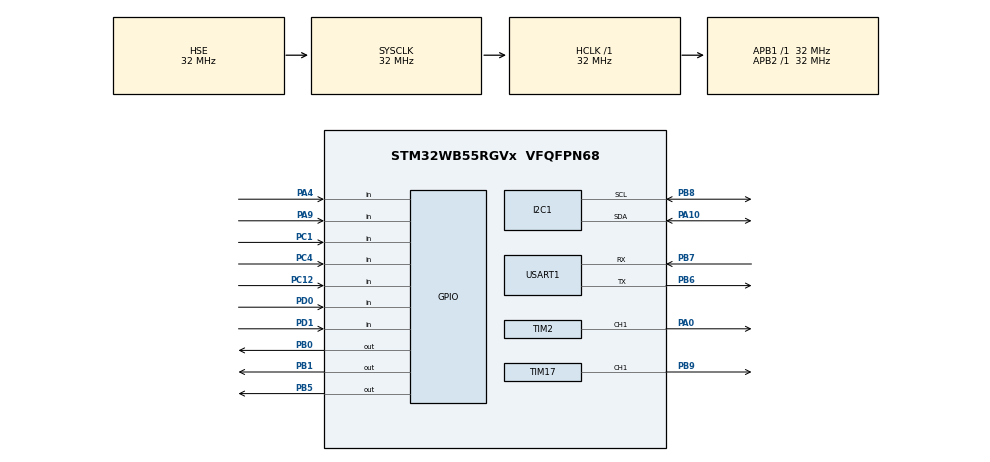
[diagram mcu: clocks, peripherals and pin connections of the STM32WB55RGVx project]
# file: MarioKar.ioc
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Dma.I2C1_RX.1.Direction=DMA_PERIPH_TO_MEMORY
Dma.I2C1_RX.1.EventEnable=DISABLE
Dma.I2C1_RX.1.Instance=DMA1_Channel2
Dma.I2C1_RX.1.MemDataAlignment=DMA_MDATAALIGN_BYTE
Dma.I2C1_RX.1.MemInc=DMA_MINC_ENABLE
Dma.I2C1_RX.1.Mode=DMA_NORMAL
Dma.I2C1_RX.1.PeriphDataAlignment=DMA_PDATAALIGN_BYTE
Dma.I2C1_RX.1.PeriphInc=DMA_PINC_DISABLE
Dma.I2C1_RX.1.Polarity=HAL_DMAMUX_REQ_GEN_RISING
Dma.I2C1_RX.1.Priority=DMA_PRIORITY_LOW
Dma.I2C1_RX.1.RequestNumber=1
Dma.I2C1_RX.1.SignalID=NONE
Dma.I2C1_RX.1.SyncEnable=DISABLE
Dma.I2C1_RX.1.SyncPolarity=HAL_DMAMUX_SYNC_NO_EVENT
Dma.I2C1_RX.1.SyncRequestNumber=1
Dma.I2C1_RX.1.SyncSignalID=NONE
Dma.I2C1_TX.2.Direction=DMA_MEMORY_TO_PERIPH
Dma.I2C1_TX.2.EventEnable=DISABLE
Dma.I2C1_TX.2.Instance=DMA1_Channel3
Dma.I2C1_TX.2.MemDataAlignment=DMA_MDATAALIGN_BYTE
Dma.I2C1_TX.2.MemInc=DMA_MINC_ENABLE
Dma.I2C1_TX.2.Mode=DMA_NORMAL
Dma.I2C1_TX.2.PeriphDataAlignment=DMA_PDATAALIGN_BYTE
Dma.I2C1_TX.2.PeriphInc=DMA_PINC_DISABLE
Dma.I2C1_TX.2.Polarity=HAL_DMAMUX_REQ_GEN_RISING
Dma.I2C1_TX.2.Priority=DMA_PRIORITY_LOW
Dma.I2C1_TX.2.RequestNumber=1
Dma.I2C1_TX.2.SignalID=NONE
Dma.I2C1_TX.2.SyncEnable=DISABLE
Dma.I2C1_TX.2.SyncPolarity=HAL_DMAMUX_SYNC_NO_EVENT
Dma.I2C1_TX.2.SyncRequestNumber=1
Dma.I2C1_TX.2.SyncSignalID=NONE
Dma.Request0=USART1_TX
Dma.Request1=I2C1_RX
Dma.Request2=I2C1_TX
Dma.USART1_TX.0.Direction=DMA_MEMORY_TO_PERIPH
Dma.USART1_TX.0.EventEnable=DISABLE
Dma.USART1_TX.0.Instance=DMA1_Channel1
Dma.USART1_TX.0.MemDataAlignment=DMA_MDATAALIGN_BYTE
Dma.USART1_TX.0.MemInc=DMA_MINC_ENABLE
Dma.USART1_TX.0.Mode=DMA_NORMAL
Dma.USART1_TX.0.PeriphDataAlignment=DMA_PDATAALIGN_BYTE
Dma.USART1_TX.0.PeriphInc=DMA_PINC_DISABLE
Dma.USART1_TX.0.Polarity=HAL_DMAMUX_REQ_GEN_RISING
Dma.USART1_TX.0.Priority=DMA_PRIORITY_LOW
Dma.USART1_TX.0.RequestNumber=1
Dma.USART1_TX.0.SignalID=NONE
Dma.USART1_TX.0.SyncEnable=DISABLE
Dma.USART1_TX.0.SyncPolarity=HAL_DMAMUX_SYNC_NO_EVENT
Dma.USART1_TX.0.SyncRequestNumber=1
Dma.USART1_TX.0.SyncSignalID=NONE
I2C1.Timing=0x00B07CB4
Mcu.Family=STM32WB
Mcu.Name=STM32WB55RGVx
Mcu.Package=VFQFPN68
NUCLEO-WB55RG.BUTTON=1
NUCLEO-WB55RG.BUTTON2=1
NUCLEO-WB55RG.BUTTON3=1
NUCLEO-WB55RG.LD1=true
NUCLEO-WB55RG.LD2=true
NUCLEO-WB55RG.LD3=true
NUCLEO-WB55RG.VCP=false
NVIC.DMA1_Channel1_IRQn=true\:15\:0\:true\:false\:true\:false\:true\:true
NVIC.DMA1_Channel2_IRQn=true\:0\:0\:false\:false\:true\:false\:true\:true
NVIC.DMA1_Channel3_IRQn=true\:0\:0\:false\:false\:true\:false\:true\:true
NVIC.HSEM_IRQn=true\:0\:0\:false\:false\:true\:false\:true\:true
NVIC.IPCC_C1_RX_IRQn=true\:0\:0\:false\:false\:true\:true\:true\:true
NVIC.IPCC_C1_TX_IRQn=true\:0\:0\:false\:false\:true\:true\:true\:true
NVIC.PriorityGroup=NVIC_PRIORITYGROUP_4
NVIC.RTC_WKUP_IRQn=true\:0\:0\:false\:false\:true\:true\:true\:true
NVIC.TIM1_UP_TIM16_IRQn=true\:15\:0\:false\:false\:true\:false\:true\:true
NVIC.TimeBase=TIM1_UP_TIM16_IRQn
NVIC.TimeBaseIP=TIM1
NVIC.USART1_IRQn=true\:0\:0\:false\:false\:true\:true\:true\:true
OSC_IN.GPIO_Label=RCC_OSC_IN
OSC_IN.Mode=HSE-External-Oscillator
OSC_IN.Signal=RCC_OSC_IN
OSC_OUT.GPIO_Label=RCC_OSC_OUT
OSC_OUT.Mode=HSE-External-Oscillator
OSC_OUT.Signal=RCC_OSC_OUT
PA0.Signal=S_TIM2_CH1
PA10.Mode=I2C
PA10.Signal=I2C1_SDA
PA11.GPIO_Label=USB_DM
PA11.Signal=USB_DM
PA13.GPIO_Label=JTMS
PA13.Mode=Trace_Asynchronous_SW
PA13.Signal=SYS_JTMS-SWDIO
PA14.GPIO_Label=JTCK
PA14.Mode=Trace_Asynchronous_SW
PA14.Signal=SYS_JTCK-SWCLK
PA2.Signal=LPUART1_TX
PA3.Signal=LPUART1_RX
PA4.Signal=GPIO_Input
PA9.Signal=GPIO_Input
PB0.Signal=GPIO_Output
PB1.Signal=GPIO_Output
PB3.GPIO_Label=JTDO
PB3.Mode=Trace_Asynchronous_SW
PB3.Signal=SYS_JTDO-SWO
PB5.Signal=GPIO_Output
PB6.Mode=Asynchronous
PB6.Signal=USART1_TX
PB7.Mode=Asynchronous
PB7.Signal=USART1_RX
PB8.Mode=I2C
PB8.Signal=I2C1_SCL
PB9.Signal=S_TIM17_CH1
PC1.Signal=GPIO_Input
PC12.Signal=GPIO_Input
PC13.GPIO_Label=SYS_WKUP2
PC13.Signal=SYS_WKUP2
PC14-OSC32_IN.GPIO_Label=RCC_OSC32_IN
PC14-OSC32_IN.Mode=LSE-External-Oscillator
PC14-OSC32_IN.Signal=RCC_OSC32_IN
PC15-OSC32_OUT.GPIO_Label=RCC_OSC32_OUT
PC15-OSC32_OUT.Mode=LSE-External-Oscillator
PC15-OSC32_OUT.Signal=RCC_OSC32_OUT
PC4.Signal=GPIO_Input
PD0.Signal=GPIO_Input
PD1.Signal=GPIO_Input
ProjectManager.HeapSize=0x400
ProjectManager.StackSize=0x1000
ProjectManager.TargetToolchain=STM32CubeIDE
RCC.ADCFreq_Value=128000000
RCC.AHBFreq_Value=32000000
RCC.APB1Freq_Value=32000000
RCC.APB1TimFreq_Value=32000000
RCC.APB2Freq_Value=32000000
RCC.APB2TimFreq_Value=32000000
RCC.APB3Freq_Value=16000000
RCC.CortexFreq_Value=32000000
RCC.HCLKFreq_Value=32000000
RCC.HSE_VALUE=32000000
RCC.HSI48_VALUE=48000000
RCC.HSI_VALUE=16000000
RCC.MSIClockRange=RCC_MSIRANGE_10
RCC.RFWKPClockSelection=RCC_RFWKPCLKSOURCE_LSE
RCC.RTCClockSelection=RCC_RTCCLKSOURCE_LSE
RCC.SMPSCLockSelection=RCC_SMPSCLKSOURCE_HSI
RCC.SMPSCLockSelectionVirtual=RCC_SMPSCLKSOURCE_HSI
RCC.SMPSCLockSelectionVirtualVirtual=RCC_SMPSCLKSOURCE_HSI
RCC.SMPSDivider=4
RCC.SYSCLKFreq_VALUE=32000000
RCC.SYSCLKSource=RCC_SYSCLKSOURCE_HSE
RCC.USBFreq_Value=128000000
RCC.VCOOutputFreq_Value=256000000
RF1.Mode=RF1_Activate
RF1.Signal=RF_RF1
SH.S_TIM17_CH1.0=TIM17_CH1,PWM Generation1 CH1
SH.S_TIM2_CH1.0=TIM2_CH1,PWM Generation1 CH1
STM32_WPAN.AD_TYPE_COMPLETE_LOCAL_NAME=MyCST
STM32_WPAN.AD_TYPE_COMPLETE_LOCAL_NAME_LENGTH=6
STM32_WPAN.BLE_APPLICATION_TYPE=BLE_SERVER_PROFILE
STM32_WPAN.BLE_DBG_APP_EN=1
STM32_WPAN.CFG_DEBUG_APP_TRACE=1
STM32_WPAN.CFG_DEBUG_BLE_TRACE=1
STM32_WPAN.CFG_DEBUG_TRACE_FULL=1
STM32_WPAN.CFG_DEBUG_TRACE_UART=hw_uart1
STM32_WPAN.CFG_GAP_DEVICE_NAME=MY_APPLI
STM32_WPAN.CFG_HW_RESET_BY_FW=1
STM32_WPAN.CFG_HW_USART1_ENABLED=1
STM32_WPAN.CFG_LSCLK_LSE=0
STM32_WPAN.CUSTOM_P2P_SERVER=Disabled
STM32_WPAN.CUSTOM_TEMPLATE=Enabled
STM32_WPAN.INCLUDE_AD_TYPE_COMPLETE_LOCAL_NAME=1
STM32_WPAN.INCLUDE_AD_TYPE_MANUFACTURER_SPECIFIC_DATA=1
STM32_WPAN.INCLUDE_AD_TYPE_TX_POWER_LEVEL=1
STM32_WPAN.NUMBER_OF_SERVICES=1
STM32_WPAN.PAIRING_PARAMETERS=ON
STM32_WPAN.SERVICE1_CHAR1_GATT_NOTIFY_READ_REQ_AND_WAIT_FOR_APPL_RESP=\ 
STM32_WPAN.SERVICE1_CHAR1_GATT_NOTIFY_WRITE_REQ_AND_WAIT_FOR_APPL_RESP=\ 
STM32_WPAN.SERVICE1_CHAR1_LENGTH_CHARACTERISTIC=CHAR_VALUE_LEN_VARIABLE
STM32_WPAN.SERVICE1_CHAR1_LONG_NAME=My_LED_Char
STM32_WPAN.SERVICE1_CHAR1_PROP_READ=CHAR_PROP_READ
STM32_WPAN.SERVICE1_CHAR1_PROP_WRITE_WITHOUT_RESP=CHAR_PROP_WRITE_WITHOUT_RESP
STM32_WPAN.SERVICE1_CHAR1_SHORT_NAME=LED_C
STM32_WPAN.SERVICE1_CHAR1_UUID=FE 41
STM32_WPAN.SERVICE1_CHAR1_VALUE_LENGTH=2
STM32_WPAN.SERVICE1_CHAR2_GATT_NOTIFY_READ_REQ_AND_WAIT_FOR_APPL_RESP=\ 
STM32_WPAN.SERVICE1_CHAR2_GATT_NOTIFY_WRITE_REQ_AND_WAIT_FOR_APPL_RESP=\ 
STM32_WPAN.SERVICE1_CHAR2_LENGTH_CHARACTERISTIC=CHAR_VALUE_LEN_VARIABLE
STM32_WPAN.SERVICE1_CHAR2_LONG_NAME=My_Switch_Char
STM32_WPAN.SERVICE1_CHAR2_PROP_NOTIFY=CHAR_PROP_NOTIFY
STM32_WPAN.SERVICE1_CHAR2_SHORT_NAME=SWITCH_C
STM32_WPAN.SERVICE1_CHAR2_UUID=FE 42
STM32_WPAN.SERVICE1_CHAR2_VALUE_LENGTH=2
STM32_WPAN.SERVICE1_LONG_NAME=My_P2P_Server
STM32_WPAN.SERVICE1_NUMBER_OF_CHARACTERISTICS=2
STM32_WPAN.SERVICE1_SHORT_NAME=P2PS
STM32_WPAN.SERVICE1_UUID=FE 40
TIM17.Channel=TIM_CHANNEL_1
TIM17.Period=19999
TIM17.Prescaler=31
TIM2.Channel-PWM\ Generation1\ CH1=TIM_CHANNEL_1
TIM2.Period=19999
TIM2.Prescaler=31
USART1.VirtualMode-Asynchronous=VM_ASYNC
VP_HSEM_VS_HSEM.Mode=HSEM_Activate
VP_IPCC_VS_IPCC.Mode=IPCC_Activate
VP_MEMORYMAP_VS_MEMORYMAP.Mode=CurAppReg
VP_NUCLEO-WB55RG_VS_BSP_COMMON.Mode=COMMON
VP_RTC_VS_RTC_Activate.Mode=RTC_Enabled
VP_RTC_VS_RTC_WakeUp_intern.Mode=WakeUp
VP_SEQUENCER_VS_SEQUENCER.Mode=SEQUENCER_Enabled
VP_STM32_WPAN_VS_BLE_HOST.Mode=STM32_WPAN_Enabled
VP_SYS_VS_tim1.Mode=TIM1
VP_TIM17_VS_ClockSourceINT.Mode=Enable_Timer
VP_TINY_LPM_VS_TINY_LPM.Mode=TINY_LPM_Enabled
board=NUCLEO-WB55RG

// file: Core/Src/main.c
/* USER CODE BEGIN Header */
/**
  ******************************************************************************
  * @file           : main.c
  * @brief          : Main program body
  ******************************************************************************
  * @attention
  *
  * Copyright (c) 2025 STMicroelectronics.
  * All rights reserved.
  *
  * This software is licensed under terms that can be found in the LICENSE file
  * in the root directory of this software component.
  * If no LICENSE file comes with this software, it is provided AS-IS.
  *
  ******************************************************************************
  */
/* USER CODE END Header */
#include "main.h"

/* USER CODE BEGIN Includes */
#include <stdio.h>
#include "fpu.h"
#include "bno055.h"
#include "app_conf.h"
#include "dbg_trace.h"
/* USER CODE END Includes */

/* USER CODE BEGIN PD */
#define PCA9685_ADDR (0x40 << 1)

#define MODE1_REG 0x00
#define PRESCALE_REG 0xFE

/* USER CODE END PD */

I2C_HandleTypeDef hi2c1;
DMA_HandleTypeDef hdma_i2c1_rx;
DMA_HandleTypeDef hdma_i2c1_tx;

IPCC_HandleTypeDef hipcc;

RTC_HandleTypeDef hrtc;

TIM_HandleTypeDef htim2;
TIM_HandleTypeDef htim17;

UART_HandleTypeDef huart1;
DMA_HandleTypeDef hdma_usart1_tx;

/* USER CODE BEGIN PV */

uint16_t htim2_speed = 1500;

BNO055_Euler_t g_bno_euler;
uint32_t g_bno_last_read_ms = 0;

/* USER CODE END PV */

void SystemClock_Config(void);
void PeriphCommonClock_Config(void);
static void MX_GPIO_Init(void);
static void MX_DMA_Init(void);
static void MX_IPCC_Init(void);
static void MX_RTC_Init(void);
static void MX_TIM2_Init(void);
static void MX_TIM17_Init(void);
static void MX_I2C1_Init(void);
static void MX_RF_Init(void);
/* USER CODE BEGIN PFP */
void MX_USART1_UART_Init(void);

/* USER CODE END PFP */

/* USER CODE BEGIN 0 */

void setSteeringPWM(uint16_t timer, uint16_t pulse) {
	if (timer == 2)
	{
		__HAL_TIM_SET_COMPARE(&htim2, TIM_CHANNEL_1, pulse);
	}
	else if (timer == 17)
	{
		__HAL_TIM_SET_COMPARE(&htim17, TIM_CHANNEL_1, pulse);
	}
}

/* USER CODE END 0 */

int main(void)
{

  /* USER CODE BEGIN 1 */
  enable_fpu();

  /* USER CODE END 1 */

  /* MCU Configuration--------------------------------------------------------*/

  /* Reset of all peripherals, Initializes the Flash interface and the Systick. */
  HAL_Init();
  /* Config code for STM32_WPAN (HSE Tuning must be done before system clock configuration) */
  MX_APPE_Config();

  /* Configure the system clock */
  SystemClock_Config();

  /* Configure the peripherals common clocks */
  PeriphCommonClock_Config();

  /* IPCC initialisation */
  MX_IPCC_Init();

  /* Initialize all configured peripherals */
  MX_GPIO_Init();
  MX_DMA_Init();
  MX_RTC_Init();
  MX_TIM2_Init();
  MX_TIM17_Init();
  MX_I2C1_Init();
  MX_RF_Init();
  /* USER CODE BEGIN 2 */
  MX_USART1_UART_Init();

  if (BNO055_Init(&hi2c1) != HAL_OK)
  {
	  APP_DBG_MSG("Oop! Did not properly initialize IMU\r\n");
  }
  else
  {
	  APP_DBG_MSG("Caitlyn is the goat!\r\n");
  }

  // After MX_TIM2_Init();
  HAL_TIM_PWM_Start(&htim17, TIM_CHANNEL_1); // servo
  HAL_TIM_PWM_Start(&htim2, TIM_CHANNEL_1); // ESC

  // Optional: start centered
  __HAL_TIM_SET_COMPARE(&htim17, TIM_CHANNEL_1, 1500);
  HAL_Delay(1000);

  // Step 1: Send neutral to arm the ESC
  __HAL_TIM_SET_COMPARE(&htim2, TIM_CHANNEL_1, 1500);
  HAL_Delay(1000);   // Wait for ESC to beep / arm
  __HAL_TIM_SET_COMPARE(&htim2, TIM_CHANNEL_1, 1500);

  /* USER CODE END 2 */

  /* Init code for STM32_WPAN */
  MX_APPE_Init();

  /* Initialize leds */
  BSP_LED_Init(LED_BLUE);
  BSP_LED_Init(LED_GREEN);
  BSP_LED_Init(LED_RED);

  /* Initialize USER push-button, will be used to trigger an interrupt each time it's pressed.*/
  BSP_PB_Init(BUTTON_SW1, BUTTON_MODE_EXTI);
  BSP_PB_Init(BUTTON_SW2, BUTTON_MODE_EXTI);
  BSP_PB_Init(BUTTON_SW3, BUTTON_MODE_EXTI);

  /* Infinite loop */
  while (1)
  {
    MX_APPE_Process();

    uint32_t now = HAL_GetTick();
	if ((now - g_bno_last_read_ms) >= 20)   // ~50 Hz
	{
		g_bno_last_read_ms = now;
		if (BNO055_ReadEuler(&hi2c1, &g_bno_euler) == HAL_OK)
		{
			// Example: use roll for local steering ONLY (does not touch BLE IMU path)
			float roll = g_bno_euler.roll_deg;   // -90..+90, for example
			APP_DBG_MSG("BNO055 ROLL:   %.2f \r\n", g_bno_euler.roll_deg);
		}
	}

  }
}

void SystemClock_Config(void)
{
  RCC_OscInitTypeDef RCC_OscInitStruct = {0};
  RCC_ClkInitTypeDef RCC_ClkInitStruct = {0};

  /** Configure LSE Drive Capability
  */
  HAL_PWR_EnableBkUpAccess();
  __HAL_RCC_LSEDRIVE_CONFIG(RCC_LSEDRIVE_MEDIUMHIGH);

  /** Configure the main internal regulator output voltage
  */
  __HAL_PWR_VOLTAGESCALING_CONFIG(PWR_REGULATOR_VOLTAGE_SCALE1);

  /** Initializes the RCC Oscillators according to the specified parameters
  * in the RCC_OscInitTypeDef structure.
  */
  RCC_OscInitStruct.OscillatorType = RCC_OSCILLATORTYPE_HSI|RCC_OSCILLATORTYPE_HSE
                              |RCC_OSCILLATORTYPE_LSE;
  RCC_OscInitStruct.HSEState = RCC_HSE_ON;
  RCC_OscInitStruct.LSEState = RCC_LSE_ON;
  RCC_OscInitStruct.HSIState = RCC_HSI_ON;
  RCC_OscInitStruct.HSICalibrationValue = RCC_HSICALIBRATION_DEFAULT;
  RCC_OscInitStruct.PLL.PLLState = RCC_PLL_NONE;
  if (HAL_RCC_OscConfig(&RCC_OscInitStruct) != HAL_OK)
  {
    Error_Handler();
  }

  /** Configure the SYSCLKSource, HCLK, PCLK1 and PCLK2 clocks dividers
  */
  RCC_ClkInitStruct.ClockType = RCC_CLOCKTYPE_HCLK4|RCC_CLOCKTYPE_HCLK2
                              |RCC_CLOCKTYPE_HCLK|RCC_CLOCKTYPE_SYSCLK
                              |RCC_CLOCKTYPE_PCLK1|RCC_CLOCKTYPE_PCLK2;
  RCC_ClkInitStruct.SYSCLKSource = RCC_SYSCLKSOURCE_HSE;
  RCC_ClkInitStruct.AHBCLKDivider = RCC_SYSCLK_DIV1;
  RCC_ClkInitStruct.APB1CLKDivider = RCC_HCLK_DIV1;
  RCC_ClkInitStruct.APB2CLKDivider = RCC_HCLK_DIV1;
  RCC_ClkInitStruct.AHBCLK2Divider = RCC_SYSCLK_DIV1;
  RCC_ClkInitStruct.AHBCLK4Divider = RCC_SYSCLK_DIV1;

  if (HAL_RCC_ClockConfig(&RCC_ClkInitStruct, FLASH_LATENCY_1) != HAL_OK)
  {
    Error_Handler();
  }
}

void PeriphCommonClock_Config(void)
{
  RCC_PeriphCLKInitTypeDef PeriphClkInitStruct = {0};

  /** Initializes the peripherals clock
  */
  PeriphClkInitStruct.PeriphClockSelection = RCC_PERIPHCLK_SMPS|RCC_PERIPHCLK_RFWAKEUP;
  PeriphClkInitStruct.RFWakeUpClockSelection = RCC_RFWKPCLKSOURCE_LSE;
  PeriphClkInitStruct.SmpsClockSelection = RCC_SMPSCLKSOURCE_HSI;
  if (HAL_RCCEx_PeriphCLKConfig(&PeriphClkInitStruct) != HAL_OK)
  {
    Error_Handler();
  }
}

static void MX_I2C1_Init(void)
{

  hi2c1.Instance = I2C1;
  hi2c1.Init.Timing = 0x00B07CB4;
  hi2c1.Init.OwnAddress1 = 0;
  hi2c1.Init.AddressingMode = I2C_ADDRESSINGMODE_7BIT;
  hi2c1.Init.DualAddressMode = I2C_DUALADDRESS_DISABLE;
  hi2c1.Init.OwnAddress2 = 0;
  hi2c1.Init.OwnAddress2Masks = I2C_OA2_NOMASK;
  hi2c1.Init.GeneralCallMode = I2C_GENERALCALL_DISABLE;
  hi2c1.Init.NoStretchMode = I2C_NOSTRETCH_DISABLE;
  if (HAL_I2C_Init(&hi2c1) != HAL_OK)
  {
    Error_Handler();
  }

  /** Configure Analogue filter
  */
  if (HAL_I2CEx_ConfigAnalogFilter(&hi2c1, I2C_ANALOGFILTER_ENABLE) != HAL_OK)
  {
    Error_Handler();
  }

  /** Configure Digital filter
  */
  if (HAL_I2CEx_ConfigDigitalFilter(&hi2c1, 0) != HAL_OK)
  {
    Error_Handler();
  }

}

static void MX_IPCC_Init(void)
{

  hipcc.Instance = IPCC;
  if (HAL_IPCC_Init(&hipcc) != HAL_OK)
  {
    Error_Handler();
  }

}

static void MX_RF_Init(void)
{

}

static void MX_RTC_Init(void)
{

  /** Initialize RTC Only
  */
  hrtc.Instance = RTC;
  hrtc.Init.HourFormat = RTC_HOURFORMAT_24;
  hrtc.Init.AsynchPrediv = CFG_RTC_ASYNCH_PRESCALER;
  hrtc.Init.SynchPrediv = CFG_RTC_SYNCH_PRESCALER;
  hrtc.Init.OutPut = RTC_OUTPUT_DISABLE;
  hrtc.Init.OutPutPolarity = RTC_OUTPUT_POLARITY_HIGH;
  hrtc.Init.OutPutType = RTC_OUTPUT_TYPE_OPENDRAIN;
  hrtc.Init.OutPutRemap = RTC_OUTPUT_REMAP_NONE;
  if (HAL_RTC_Init(&hrtc) != HAL_OK)
  {
    Error_Handler();
  }

  /** Enable the WakeUp
  */
  if (HAL_RTCEx_SetWakeUpTimer_IT(&hrtc, 0, RTC_WAKEUPCLOCK_RTCCLK_DIV16) != HAL_OK)
  {
    Error_Handler();
  }

}

static void MX_TIM2_Init(void)
{

  TIM_MasterConfigTypeDef sMasterConfig = {0};
  TIM_OC_InitTypeDef sConfigOC = {0};

  htim2.Instance = TIM2;
  htim2.Init.Prescaler = 31;
  htim2.Init.CounterMode = TIM_COUNTERMODE_UP;
  htim2.Init.Period = 19999;
  htim2.Init.ClockDivision = TIM_CLOCKDIVISION_DIV1;
  htim2.Init.AutoReloadPreload = TIM_AUTORELOAD_PRELOAD_DISABLE;
  if (HAL_TIM_PWM_Init(&htim2) != HAL_OK)
  {
    Error_Handler();
  }
  sMasterConfig.MasterOutputTrigger = TIM_TRGO_RESET;
  sMasterConfig.MasterSlaveMode = TIM_MASTERSLAVEMODE_DISABLE;
  if (HAL_TIMEx_MasterConfigSynchronization(&htim2, &sMasterConfig) != HAL_OK)
  {
    Error_Handler();
  }
  sConfigOC.OCMode = TIM_OCMODE_PWM1;
  sConfigOC.Pulse = 0;
  sConfigOC.OCPolarity = TIM_OCPOLARITY_HIGH;
  sConfigOC.OCFastMode = TIM_OCFAST_DISABLE;
  if (HAL_TIM_PWM_ConfigChannel(&htim2, &sConfigOC, TIM_CHANNEL_1) != HAL_OK)
  {
    Error_Handler();
  }
  HAL_TIM_MspPostInit(&htim2);

}

static void MX_TIM17_Init(void)
{

  TIM_OC_InitTypeDef sConfigOC = {0};
  TIM_BreakDeadTimeConfigTypeDef sBreakDeadTimeConfig = {0};

  htim17.Instance = TIM17;
  htim17.Init.Prescaler = 31;
  htim17.Init.CounterMode = TIM_COUNTERMODE_UP;
  htim17.Init.Period = 19999;
  htim17.Init.ClockDivision = TIM_CLOCKDIVISION_DIV1;
  htim17.Init.RepetitionCounter = 0;
  htim17.Init.AutoReloadPreload = TIM_AUTORELOAD_PRELOAD_DISABLE;
  if (HAL_TIM_Base_Init(&htim17) != HAL_OK)
  {
    Error_Handler();
  }
  if (HAL_TIM_PWM_Init(&htim17) != HAL_OK)
  {
    Error_Handler();
  }
  sConfigOC.OCMode = TIM_OCMODE_PWM1;
  sConfigOC.Pulse = 0;
  sConfigOC.OCPolarity = TIM_OCPOLARITY_HIGH;
  sConfigOC.OCNPolarity = TIM_OCNPOLARITY_HIGH;
  sConfigOC.OCFastMode = TIM_OCFAST_DISABLE;
  sConfigOC.OCIdleState = TIM_OCIDLESTATE_RESET;
  sConfigOC.OCNIdleState = TIM_OCNIDLESTATE_RESET;
  if (HAL_TIM_PWM_ConfigChannel(&htim17, &sConfigOC, TIM_CHANNEL_1) != HAL_OK)
  {
    Error_Handler();
  }
  sBreakDeadTimeConfig.OffStateRunMode = TIM_OSSR_DISABLE;
  sBreakDeadTimeConfig.OffStateIDLEMode = TIM_OSSI_DISABLE;
  sBreakDeadTimeConfig.LockLevel = TIM_LOCKLEVEL_OFF;
  sBreakDeadTimeConfig.DeadTime = 0;
  sBreakDeadTimeConfig.BreakState = TIM_BREAK_DISABLE;
  sBreakDeadTimeConfig.BreakPolarity = TIM_BREAKPOLARITY_HIGH;
  sBreakDeadTimeConfig.BreakFilter = 0;
  sBreakDeadTimeConfig.AutomaticOutput = TIM_AUTOMATICOUTPUT_DISABLE;
  if (HAL_TIMEx_ConfigBreakDeadTime(&htim17, &sBreakDeadTimeConfig) != HAL_OK)
  {
    Error_Handler();
  }
  HAL_TIM_MspPostInit(&htim17);

}

void MX_USART1_UART_Init(void)
{

  huart1.Instance = USART1;
  huart1.Init.BaudRate = 115200;
  huart1.Init.WordLength = UART_WORDLENGTH_8B;
  huart1.Init.StopBits = UART_STOPBITS_1;
  huart1.Init.Parity = UART_PARITY_NONE;
  huart1.Init.Mode = UART_MODE_TX_RX;
  huart1.Init.HwFlowCtl = UART_HWCONTROL_NONE;
  huart1.Init.OverSampling = UART_OVERSAMPLING_8;
  huart1.Init.OneBitSampling = UART_ONE_BIT_SAMPLE_DISABLE;
  huart1.Init.ClockPrescaler = UART_PRESCALER_DIV1;
  huart1.AdvancedInit.AdvFeatureInit = UART_ADVFEATURE_NO_INIT;
  if (HAL_UART_Init(&huart1) != HAL_OK)
  {
    Error_Handler();
  }
  if (HAL_UARTEx_SetTxFifoThreshold(&huart1, UART_TXFIFO_THRESHOLD_1_8) != HAL_OK)
  {
    Error_Handler();
  }
  if (HAL_UARTEx_SetRxFifoThreshold(&huart1, UART_RXFIFO_THRESHOLD_1_8) != HAL_OK)
  {
    Error_Handler();
  }
  if (HAL_UARTEx_DisableFifoMode(&huart1) != HAL_OK)
  {
    Error_Handler();
  }

}

static void MX_DMA_Init(void)
{

  /* DMA controller clock enable */
  __HAL_RCC_DMAMUX1_CLK_ENABLE();
  __HAL_RCC_DMA1_CLK_ENABLE();

  /* DMA interrupt init */
  /* DMA1_Channel1_IRQn interrupt configuration */
  HAL_NVIC_SetPriority(DMA1_Channel1_IRQn, 15, 0);
  HAL_NVIC_EnableIRQ(DMA1_Channel1_IRQn);
  /* DMA1_Channel2_IRQn interrupt configuration */
  HAL_NVIC_SetPriority(DMA1_Channel2_IRQn, 0, 0);
  HAL_NVIC_EnableIRQ(DMA1_Channel2_IRQn);
  /* DMA1_Channel3_IRQn interrupt configuration */
  HAL_NVIC_SetPriority(DMA1_Channel3_IRQn, 0, 0);
  HAL_NVIC_EnableIRQ(DMA1_Channel3_IRQn);

}

static void MX_GPIO_Init(void)
{
  GPIO_InitTypeDef GPIO_InitStruct = {0};

  /* GPIO Ports Clock Enable */
  __HAL_RCC_GPIOC_CLK_ENABLE();
  __HAL_RCC_GPIOB_CLK_ENABLE();
  __HAL_RCC_GPIOA_CLK_ENABLE();

  /*Configure GPIO pins : PC1 PC12 */
  GPIO_InitStruct.Pin = GPIO_PIN_1|GPIO_PIN_12;
  GPIO_InitStruct.Mode = GPIO_MODE_INPUT;
  GPIO_InitStruct.Pull = GPIO_NOPULL;
  HAL_GPIO_Init(GPIOC, &GPIO_InitStruct);

  /*Configure GPIO pins : PA2 PA3 */
  GPIO_InitStruct.Pin = GPIO_PIN_2|GPIO_PIN_3;
  GPIO_InitStruct.Mode = GPIO_MODE_AF_PP;
  GPIO_InitStruct.Pull = GPIO_NOPULL;
  GPIO_InitStruct.Speed = GPIO_SPEED_FREQ_LOW;
  GPIO_InitStruct.Alternate = GPIO_AF8_LPUART1;
  HAL_GPIO_Init(GPIOA, &GPIO_InitStruct);

  /*Configure GPIO pins : PA4 PA9 */
  GPIO_InitStruct.Pin = GPIO_PIN_4|GPIO_PIN_9;
  GPIO_InitStruct.Mode = GPIO_MODE_INPUT;
  GPIO_InitStruct.Pull = GPIO_NOPULL;
  HAL_GPIO_Init(GPIOA, &GPIO_InitStruct);

  /*Configure GPIO pin : USB_DM_Pin */
  GPIO_InitStruct.Pin = USB_DM_Pin;
  GPIO_InitStruct.Mode = GPIO_MODE_AF_PP;
  GPIO_InitStruct.Pull = GPIO_NOPULL;
  GPIO_InitStruct.Speed = GPIO_SPEED_FREQ_LOW;
  GPIO_InitStruct.Alternate = GPIO_AF10_USB;
  HAL_GPIO_Init(USB_DM_GPIO_Port, &GPIO_InitStruct);

}

void HAL_TIM_PeriodElapsedCallback(TIM_HandleTypeDef *htim)
{
  if (htim->Instance == TIM1)
  {
    HAL_IncTick();
  }
}

void Error_Handler(void)
{
  __disable_irq();
  while (1)
  {
  }
}
